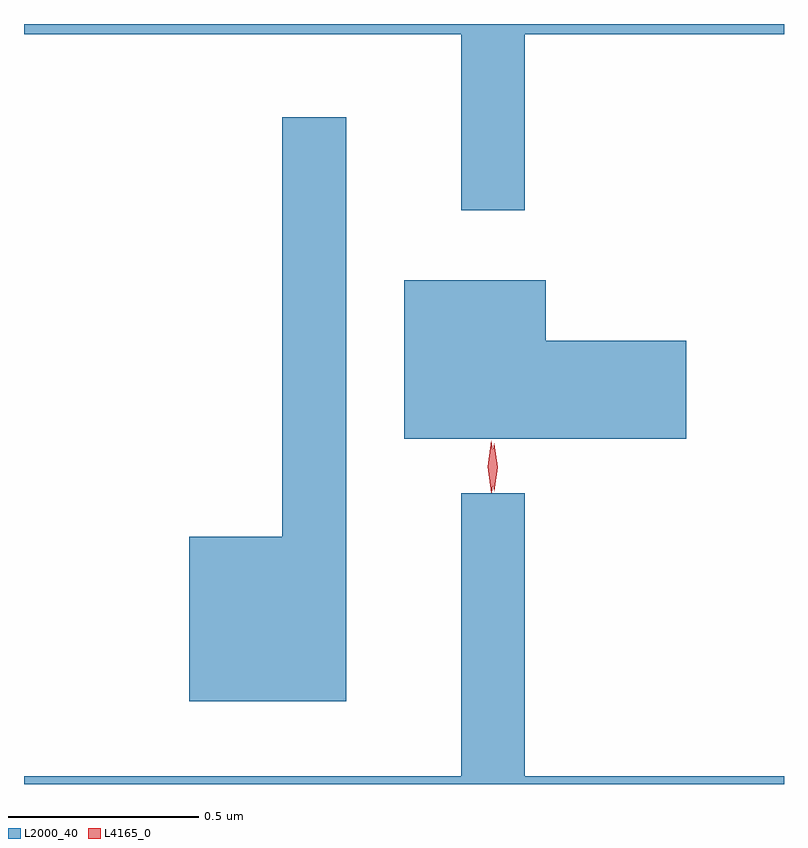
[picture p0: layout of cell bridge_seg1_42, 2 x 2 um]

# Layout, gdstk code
import gdstk
lib = gdstk.Library(unit=1e-6, precision=1e-09)
def P(c, l, *ps):  # polygons
    for p in ps: c.add(gdstk.Polygon(p, *l))
L2000_40 = (2000, 40)
L4165_0 = (4165, 0)

bridge_seg1_42 = lib.new_cell('bridge_seg1_42')
P(bridge_seg1_42, L2000_40, [(1822.719,841.856),(1823.401,841.856),(1823.401,841.883),(1821.401,841.883),(1821.401,841.856),(1822.551,841.856),(1822.551,841.393),(1822.719,841.393)],
  [(1822.249,841.638),(1822.081,841.638),(1822.081,840.534),(1821.836,840.534),(1821.836,840.101),(1822.249,840.101)],
  [(1823.144,841.049),(1822.774,841.049),(1822.774,841.209),(1822.401,841.209),(1822.401,840.791),(1823.144,840.791)],
  [(1823.401,839.904),(1822.719,839.904),(1822.719,840.648),(1822.551,840.648),(1822.551,839.904),(1821.401,839.904),(1821.401,839.883),(1823.401,839.883)])
P(bridge_seg1_42, L4165_0, [(1822.631,840.65),(1822.631,840.65),(1822.621,840.718),(1822.63,840.786),(1822.63,840.786),(1822.631,840.786),(1822.641,840.718),(1822.632,840.65)],
  [(1822.638,840.653),(1822.638,840.653),(1822.628,840.716),(1822.638,840.779),(1822.638,840.78),(1822.639,840.779),(1822.648,840.716),(1822.639,840.653)])

lib.write_gds('bridge_seg1_42.gds')
